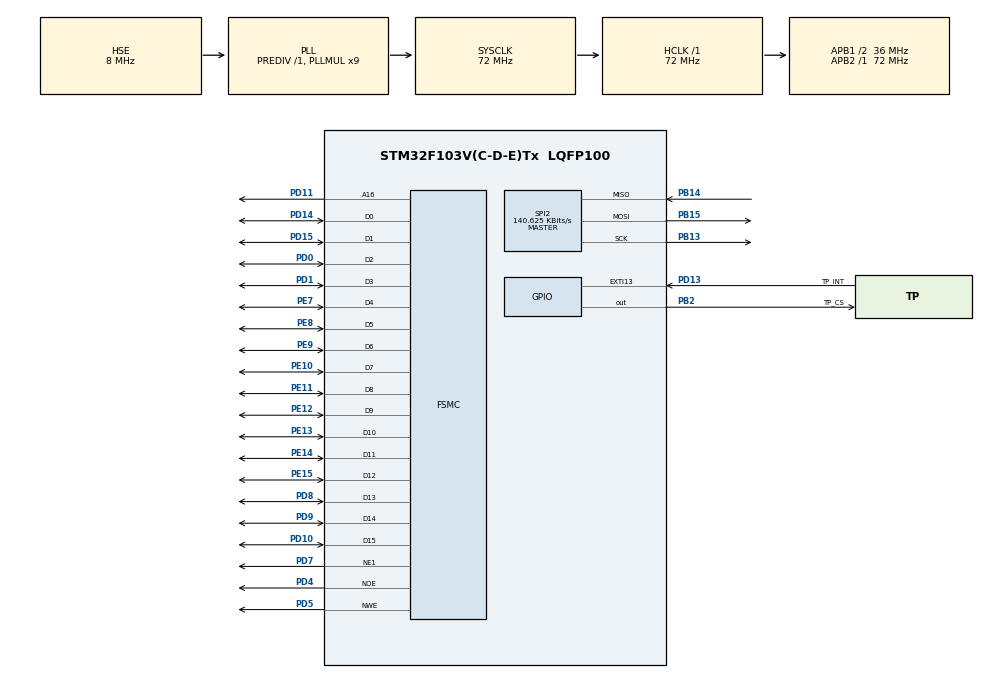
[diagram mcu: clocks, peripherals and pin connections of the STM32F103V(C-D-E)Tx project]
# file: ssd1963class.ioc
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FSMC.AddressSetupTime1=2
FSMC.BusTurnAroundDuration1=0
FSMC.DataSetupTime1=10
Mcu.Family=STM32F1
Mcu.Name=STM32F103V(C-D-E)Tx
Mcu.Package=LQFP100
NVIC.EXTI15_10_IRQn=true\:0\:0\:false\:false\:true\:true\:true
NVIC.PriorityGroup=NVIC_PRIORITYGROUP_4
OSC_IN.Mode=HSE-External-Oscillator
OSC_IN.Signal=RCC_OSC_IN
OSC_OUT.Mode=HSE-External-Oscillator
OSC_OUT.Signal=RCC_OSC_OUT
PA13.Mode=Serial_Wire
PA13.Signal=SYS_JTMS-SWDIO
PA14.Mode=Serial_Wire
PA14.Signal=SYS_JTCK-SWCLK
PB13.Mode=Full_Duplex_Master
PB13.Signal=SPI2_SCK
PB14.Mode=Full_Duplex_Master
PB14.Signal=SPI2_MISO
PB15.Mode=Full_Duplex_Master
PB15.Signal=SPI2_MOSI
PB2.GPIO_Label=TP_CS
PB2.Signal=GPIO_Output
PD0.Mode=16b-d1
PD0.Signal=FSMC_D2
PD1.Mode=16b-d1
PD1.Signal=FSMC_D3
PD10.Mode=16b-d1
PD10.Signal=FSMC_D15
PD11.Mode=A16_1
PD11.Signal=FSMC_A16
PD13.GPIO_Label=TP_INT
PD13.Signal=GPXTI13
PD14.Mode=16b-d1
PD14.Signal=FSMC_D0
PD15.Mode=16b-d1
PD15.Signal=FSMC_D1
PD4.Mode=Lcd1
PD4.Signal=FSMC_NOE
PD5.Mode=Lcd1
PD5.Signal=FSMC_NWE
PD7.Mode=NorPsramChipSelect1_1
PD7.Signal=FSMC_NE1
PD8.Mode=16b-d1
PD8.Signal=FSMC_D13
PD9.Mode=16b-d1
PD9.Signal=FSMC_D14
PE10.Mode=16b-d1
PE10.Signal=FSMC_D7
PE11.Mode=16b-d1
PE11.Signal=FSMC_D8
PE12.Mode=16b-d1
PE12.Signal=FSMC_D9
PE13.Mode=16b-d1
PE13.Signal=FSMC_D10
PE14.Mode=16b-d1
PE14.Signal=FSMC_D11
PE15.Mode=16b-d1
PE15.Signal=FSMC_D12
PE7.Mode=16b-d1
PE7.Signal=FSMC_D4
PE8.Mode=16b-d1
PE8.Signal=FSMC_D5
PE9.Mode=16b-d1
PE9.Signal=FSMC_D6
ProjectManager.HeapSize=0x200
ProjectManager.StackSize=0x400
ProjectManager.TargetToolchain=MDK-ARM V5
RCC.AHBFreq_Value=72000000
RCC.APB1CLKDivider=RCC_HCLK_DIV2
RCC.APB1Freq_Value=36000000
RCC.APB1TimFreq_Value=72000000
RCC.APB2Freq_Value=72000000
RCC.APB2TimFreq_Value=72000000
RCC.HCLKFreq_Value=72000000
RCC.PLLMUL=RCC_PLL_MUL9
RCC.PLLSourceVirtual=RCC_PLLSOURCE_HSE
RCC.SYSCLKFreq_VALUE=72000000
RCC.SYSCLKSource=RCC_SYSCLKSOURCE_PLLCLK
RCC.USBFreq_Value=72000000
SPI2.BaudRatePrescaler=SPI_BAUDRATEPRESCALER_256
SPI2.CalculateBaudRate=140.625 KBits/s
SPI2.Direction=SPI_DIRECTION_2LINES
SPI2.Mode=SPI_MODE_MASTER
SPI2.VirtualType=VM_MASTER
VP_CRC_VS_CRC.Mode=CRC_Activate
board=custom

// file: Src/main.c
/* USER CODE BEGIN Header */
/**
  ******************************************************************************
  * @file           : main.c
  * @brief          : Main program body
  ******************************************************************************
  * @attention
  *
  * <h2><center>&copy; Copyright (c) 2019 STMicroelectronics.
  * All rights reserved.</center></h2>
  *
  * This software component is licensed by ST under BSD 3-Clause license,
  * the "License"; You may not use this file except in compliance with the
  * License. You may obtain a copy of the License at:
  *                        opensource.org/licenses/BSD-3-Clause
  *
  ******************************************************************************
  */
/* USER CODE END Header */

#include "main.h"

/* USER CODE BEGIN Includes */
#include "../touch/xpt2046.h"
#include "GUI.h"
/* USER CODE END Includes */

CRC_HandleTypeDef hcrc;

SPI_HandleTypeDef hspi2;

SRAM_HandleTypeDef hsram1;

void SystemClock_Config(void);
static void MX_GPIO_Init(void);
static void MX_FSMC_Init(void);
static void MX_CRC_Init(void);
static void MX_SPI2_Init(void);
/* USER CODE BEGIN PFP */
int i,b;
/* USER CODE END PFP */

/* USER CODE BEGIN 0 */

int x,y;
extern void MainTask(void);
/* USER CODE END 0 */

int main(void)
{
  /* USER CODE BEGIN 1 */
char str[100];
  /* USER CODE END 1 */

  /* MCU Configuration--------------------------------------------------------*/

  /* Reset of all peripherals, Initializes the Flash interface and the Systick. */
  HAL_Init();

  /* Configure the system clock */
  SystemClock_Config();

  /* Initialize all configured peripherals */
  MX_GPIO_Init();
  MX_FSMC_Init();
  MX_CRC_Init();
  MX_SPI2_Init();
  /* USER CODE BEGIN 2 */
	GUI_Init();
	i = GUI_ALLOC_GetNumFreeBytes();
	//MainTask();

  GUI_Init();

	GUI_SetBkColor(GUI_RED);
	GUI_Clear();

	GUI_SetColor(GUI_GREEN);
	GUI_SetFont(GUI_FONT_D80);
	GUI_CURSOR_Show();
	//GUI_SetFont(GUI_FONT_24B_ASCII);
	//GUI_DispStringAt(str,100,100);
  /* USER CODE END 2 */

  /* Infinite loop */
  while (1)
  {

    /* USER CODE BEGIN 3 */
		TP_GetAdXY(&x,&y);
		HAL_Delay(100);
		x =  (x * 800) / 4095;
		y =  (y * 480) / 4095;
	  sprintf(str,"%d,%d",x,y);
		GUI_DispStringAt(str,20,120);
    //GUI_TOUCH_StoreState(x,y);
    //GUI_CURSOR_SetPosition(x,y);
  }
  /* USER CODE END 3 */
}

void SystemClock_Config(void)
{
  RCC_OscInitTypeDef RCC_OscInitStruct = {0};
  RCC_ClkInitTypeDef RCC_ClkInitStruct = {0};

  /** Initializes the CPU, AHB and APB busses clocks
  */
  RCC_OscInitStruct.OscillatorType = RCC_OSCILLATORTYPE_HSE;
  RCC_OscInitStruct.HSEState = RCC_HSE_ON;
  RCC_OscInitStruct.HSEPredivValue = RCC_HSE_PREDIV_DIV1;
  RCC_OscInitStruct.HSIState = RCC_HSI_ON;
  RCC_OscInitStruct.PLL.PLLState = RCC_PLL_ON;
  RCC_OscInitStruct.PLL.PLLSource = RCC_PLLSOURCE_HSE;
  RCC_OscInitStruct.PLL.PLLMUL = RCC_PLL_MUL9;
  if (HAL_RCC_OscConfig(&RCC_OscInitStruct) != HAL_OK)
  {
    Error_Handler();
  }
  /** Initializes the CPU, AHB and APB busses clocks
  */
  RCC_ClkInitStruct.ClockType = RCC_CLOCKTYPE_HCLK|RCC_CLOCKTYPE_SYSCLK
                              |RCC_CLOCKTYPE_PCLK1|RCC_CLOCKTYPE_PCLK2;
  RCC_ClkInitStruct.SYSCLKSource = RCC_SYSCLKSOURCE_PLLCLK;
  RCC_ClkInitStruct.AHBCLKDivider = RCC_SYSCLK_DIV1;
  RCC_ClkInitStruct.APB1CLKDivider = RCC_HCLK_DIV2;
  RCC_ClkInitStruct.APB2CLKDivider = RCC_HCLK_DIV1;

  if (HAL_RCC_ClockConfig(&RCC_ClkInitStruct, FLASH_LATENCY_2) != HAL_OK)
  {
    Error_Handler();
  }
}

static void MX_CRC_Init(void)
{

  hcrc.Instance = CRC;
  if (HAL_CRC_Init(&hcrc) != HAL_OK)
  {
    Error_Handler();
  }

}

static void MX_SPI2_Init(void)
{

  /* SPI2 parameter configuration*/
  hspi2.Instance = SPI2;
  hspi2.Init.Mode = SPI_MODE_MASTER;
  hspi2.Init.Direction = SPI_DIRECTION_2LINES;
  hspi2.Init.DataSize = SPI_DATASIZE_8BIT;
  hspi2.Init.CLKPolarity = SPI_POLARITY_LOW;
  hspi2.Init.CLKPhase = SPI_PHASE_1EDGE;
  hspi2.Init.NSS = SPI_NSS_SOFT;
  hspi2.Init.BaudRatePrescaler = SPI_BAUDRATEPRESCALER_256;
  hspi2.Init.FirstBit = SPI_FIRSTBIT_MSB;
  hspi2.Init.TIMode = SPI_TIMODE_DISABLE;
  hspi2.Init.CRCCalculation = SPI_CRCCALCULATION_DISABLE;
  hspi2.Init.CRCPolynomial = 10;
  if (HAL_SPI_Init(&hspi2) != HAL_OK)
  {
    Error_Handler();
  }

}

static void MX_GPIO_Init(void)
{
  GPIO_InitTypeDef GPIO_InitStruct = {0};

  /* GPIO Ports Clock Enable */
  __HAL_RCC_GPIOB_CLK_ENABLE();
  __HAL_RCC_GPIOE_CLK_ENABLE();
  __HAL_RCC_GPIOD_CLK_ENABLE();
  __HAL_RCC_GPIOA_CLK_ENABLE();

  /*Configure GPIO pin Output Level */
  HAL_GPIO_WritePin(TP_CS_GPIO_Port, TP_CS_Pin, GPIO_PIN_RESET);

  /*Configure GPIO pin : TP_CS_Pin */
  GPIO_InitStruct.Pin = TP_CS_Pin;
  GPIO_InitStruct.Mode = GPIO_MODE_OUTPUT_PP;
  GPIO_InitStruct.Pull = GPIO_NOPULL;
  GPIO_InitStruct.Speed = GPIO_SPEED_FREQ_LOW;
  HAL_GPIO_Init(TP_CS_GPIO_Port, &GPIO_InitStruct);

  /*Configure GPIO pin : TP_INT_Pin */
  GPIO_InitStruct.Pin = TP_INT_Pin;
  GPIO_InitStruct.Mode = GPIO_MODE_IT_RISING;
  GPIO_InitStruct.Pull = GPIO_NOPULL;
  HAL_GPIO_Init(TP_INT_GPIO_Port, &GPIO_InitStruct);

  /* EXTI interrupt init*/
  HAL_NVIC_SetPriority(EXTI15_10_IRQn, 0, 0);
  HAL_NVIC_EnableIRQ(EXTI15_10_IRQn);

}

/* FSMC initialization function */
static void MX_FSMC_Init(void)
{

  FSMC_NORSRAM_TimingTypeDef Timing = {0};

  /** Perform the SRAM1 memory initialization sequence
  */
  hsram1.Instance = FSMC_NORSRAM_DEVICE;
  hsram1.Extended = FSMC_NORSRAM_EXTENDED_DEVICE;
  /* hsram1.Init */
  hsram1.Init.NSBank = FSMC_NORSRAM_BANK1;
  hsram1.Init.DataAddressMux = FSMC_DATA_ADDRESS_MUX_DISABLE;
  hsram1.Init.MemoryType = FSMC_MEMORY_TYPE_SRAM;
  hsram1.Init.MemoryDataWidth = FSMC_NORSRAM_MEM_BUS_WIDTH_16;
  hsram1.Init.BurstAccessMode = FSMC_BURST_ACCESS_MODE_DISABLE;
  hsram1.Init.WaitSignalPolarity = FSMC_WAIT_SIGNAL_POLARITY_LOW;
  hsram1.Init.WrapMode = FSMC_WRAP_MODE_DISABLE;
  hsram1.Init.WaitSignalActive = FSMC_WAIT_TIMING_BEFORE_WS;
  hsram1.Init.WriteOperation = FSMC_WRITE_OPERATION_ENABLE;
  hsram1.Init.WaitSignal = FSMC_WAIT_SIGNAL_DISABLE;
  hsram1.Init.ExtendedMode = FSMC_EXTENDED_MODE_DISABLE;
  hsram1.Init.AsynchronousWait = FSMC_ASYNCHRONOUS_WAIT_DISABLE;
  hsram1.Init.WriteBurst = FSMC_WRITE_BURST_DISABLE;
  /* Timing */
  Timing.AddressSetupTime = 1;
  Timing.AddressHoldTime = 0;
  Timing.DataSetupTime = 1;
  Timing.BusTurnAroundDuration = 0;
  Timing.CLKDivision = 0;
  Timing.DataLatency = 0;
  Timing.AccessMode = FSMC_ACCESS_MODE_A;
  /* ExtTiming */

  if (HAL_SRAM_Init(&hsram1, &Timing, NULL) != HAL_OK)
  {
    Error_Handler( );
  }

  /** Disconnect NADV
  */

  __HAL_AFIO_FSMCNADV_DISCONNECTED();

}

void Error_Handler(void)
{
}

/************************ (C) COPYRIGHT STMicroelectronics *****END OF FILE****/
